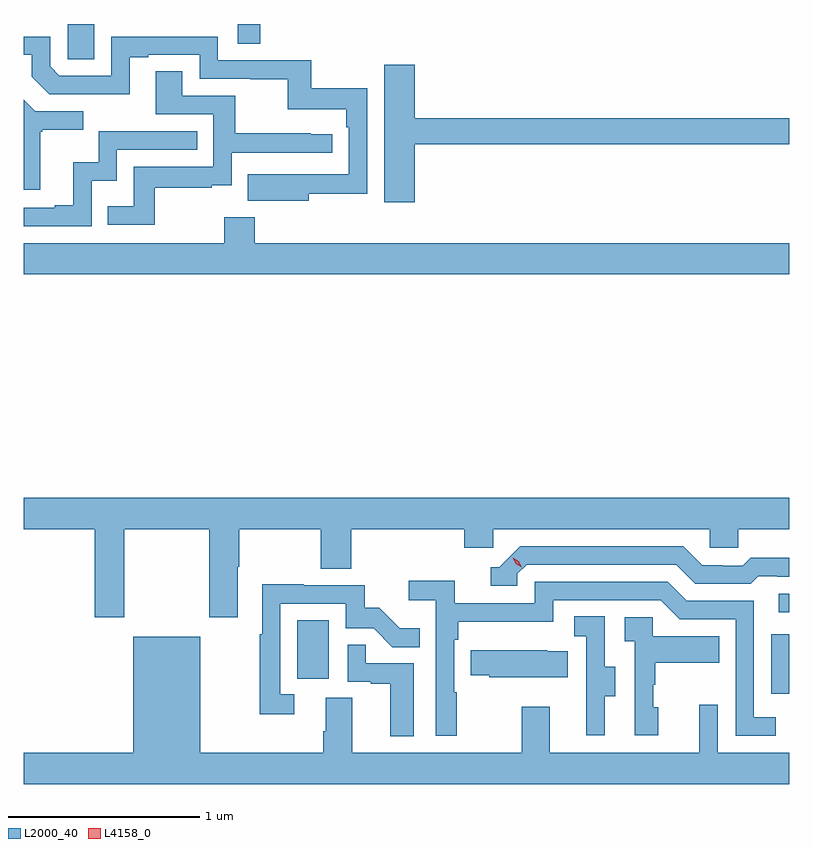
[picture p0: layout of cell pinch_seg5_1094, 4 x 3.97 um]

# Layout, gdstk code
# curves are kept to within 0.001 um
import gdstk
lib = gdstk.Library(unit=1e-6, precision=1e-09)
def R(c, l, rs):  # rectangles x0, y0, x1, y1
    for r in rs: c.add(gdstk.rectangle(r[:2], r[2:], *l))
def P(c, l, *ps):  # polygons
    for p in ps: c.add(gdstk.Polygon(p, *l))
L2000_40 = (2000, 40)
L4158_0 = (4158, 0)

pinch_seg5_1094 = lib.new_cell('pinch_seg5_1094')
R(pinch_seg5_1094, L2000_40, [(818.478,841.248,818.572,841.558), (816.002,841.326,816.166,841.633), (818.517,841.674,818.572,841.77), (814.8,844.564,814.939,844.749), (815.691,844.645,815.807,844.749)])
P(pinch_seg5_1094, L2000_40, [(816.061,843.862),(816.366,843.862),(816.366,844.414),(816.073,844.414),(816.073,844.56),(815.586,844.56),(815.586,844.683),(815.028,844.683),(815.028,844.479),(814.758,844.479),(814.71,844.527),(814.71,844.683),(814.572,844.683),(814.572,844.587),(814.614,844.587),(814.614,844.473),(814.704,844.383),(815.125,844.382),(815.125,844.575),(815.221,844.575),(815.221,844.587),(815.49,844.587),(815.49,844.464),(815.755,844.464),(815.755,844.459),(815.952,844.459),(815.952,844.304),(816.257,844.304),(816.257,844.208),(816.27,844.208),(816.27,843.963),(815.743,843.964),(815.743,843.824),(816.061,843.824)],
  [(816.616,844.12),(818.572,844.12),(818.572,844.256),(816.616,844.256),(816.616,844.537),(816.455,844.537),(816.455,843.816),(816.616,843.816)],
  [(815.257,843.894),(815.555,843.894),(815.555,843.905),(815.658,843.905),(815.658,844.077),(816.184,844.077),(816.184,844.173),(816.071,844.173),(816.071,844.178),(815.678,844.178),(815.678,844.374),(815.401,844.374),(815.401,844.502),(815.261,844.502),(815.261,844.278),(815.562,844.278),(815.562,844.002),(815.146,844.002),(815.146,843.796),(815.011,843.796),(815.011,843.699),(815.257,843.699)],
  [(814.657,844.185),(814.669,844.185),(814.669,844.196),(814.882,844.196),(814.882,844.293),(814.632,844.293),(814.572,844.353),(814.572,843.882),(814.657,843.882)],
  [(814.926,843.929),(815.058,843.929),(815.058,844.092),(815.477,844.092),(815.477,844.188),(814.962,844.188),(814.962,844.027),(814.829,844.027),(814.829,843.802),(814.733,843.802),(814.733,843.789),(814.572,843.789),(814.572,843.693),(814.926,843.693)],
  [(818.572,843.604),(815.78,843.604),(815.78,843.739),(815.62,843.739),(815.62,843.604),(814.572,843.604),(814.572,843.44),(818.572,843.44)],
  [(815.097,842.108),(815.542,842.108),(815.542,841.647),(815.689,841.647),(815.689,841.912),(815.697,841.912),(815.697,842.108),(816.124,842.108),(816.124,841.9),(816.284,841.9),(816.284,842.108),(816.875,842.108),(816.875,842.01),(817.026,842.01),(817.026,842.108),(818.157,842.108),(818.157,842.01),(818.307,842.01),(818.307,842.108),(818.572,842.108),(818.572,842.272),(814.572,842.272),(814.572,842.108),(814.942,842.108),(814.942,841.647),(815.097,841.647)],
  [(817.152,841.875),(817.2,841.923),(817.983,841.923),(818.082,841.824),(818.371,841.824),(818.41,841.863),(818.509,841.863),(818.509,841.86),(818.572,841.86),(818.572,841.96),(818.371,841.96),(818.329,841.917),(818.226,841.917),(818.226,841.92),(818.119,841.92),(818.02,842.019),(817.167,842.019),(817.056,841.908),(817.013,841.908),(817.013,841.812),(817.152,841.812)],
  [(816.835,841.256),(816.822,841.256),(816.822,841.529),(816.842,841.529),(816.842,841.625),(817.338,841.625),(817.338,841.737),(817.902,841.737),(818.001,841.638),(818.292,841.638),(818.292,841.029),(818.501,841.029),(818.501,841.125),(818.388,841.125),(818.388,841.734),(818.038,841.734),(817.939,841.833),(817.242,841.833),(817.242,841.722),(816.824,841.722),(816.824,841.838),(816.585,841.838),(816.585,841.736),(816.726,841.736),(816.726,841.029),(816.835,841.029)],
  [(815.986,841.245),(815.913,841.245),(815.913,841.719),(816.255,841.719),(816.255,841.59),(816.4,841.59),(816.498,841.492),(816.641,841.492),(816.641,841.591),(816.537,841.591),(816.43,841.698),(816.354,841.698),(816.354,841.815),(816.035,841.815),(816.035,841.82),(815.817,841.82),(815.817,841.559),(815.805,841.559),(815.805,841.14),(815.986,841.14)],
  [(817.609,841.234),(817.663,841.234),(817.663,841.389),(817.608,841.389),(817.608,841.652),(817.449,841.652),(817.449,841.549),(817.512,841.549),(817.512,841.245),(817.511,841.245),(817.511,841.032),(817.609,841.032)],
  [(817.888,841.176),(817.863,841.176),(817.863,841.295),(817.873,841.295),(817.873,841.409),(818.207,841.409),(818.207,841.549),(817.86,841.549),(817.86,841.647),(817.713,841.647),(817.713,841.523),(817.764,841.523),(817.764,841.032),(817.888,841.032)],
  [(818.572,840.94),(818.199,840.94),(818.199,841.189),(818.102,841.189),(818.102,840.94),(817.321,840.94),(817.321,841.18),(817.174,841.18),(817.174,840.94),(816.289,840.94),(816.289,841.226),(816.149,841.226),(816.149,841.052),(816.137,841.052),(816.137,840.94),(815.494,840.94),(815.494,841.546),(815.144,841.546),(815.144,840.94),(814.572,840.94),(814.572,840.776),(818.572,840.776)],
  [(816.61,841.407),(816.359,841.407),(816.359,841.505),(816.264,841.505),(816.264,841.311),(816.385,841.311),(816.385,841.299),(816.488,841.299),(816.488,841.025),(816.61,841.025)],
  [(817.415,841.471),(817.307,841.471),(817.307,841.474),(816.907,841.474),(816.907,841.345),(817.005,841.345),(817.005,841.334),(817.415,841.334)])
P(pinch_seg5_1094, L4158_0, [(817.175,841.908),(817.144,841.927),(817.128,841.96),(817.128,841.96),(817.128,841.96),(817.159,841.941),(817.175,841.908),(817.175,841.908)])

lib.write_gds('pinch_seg5_1094.gds')
